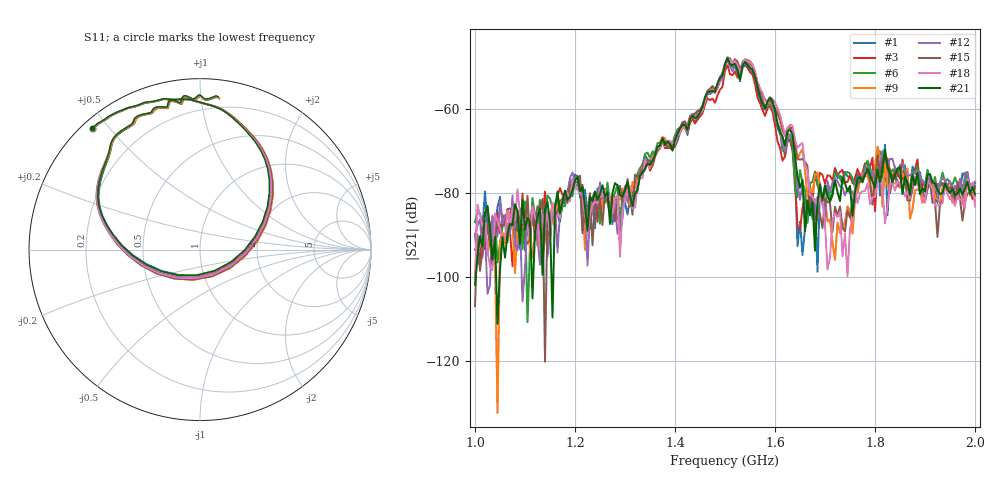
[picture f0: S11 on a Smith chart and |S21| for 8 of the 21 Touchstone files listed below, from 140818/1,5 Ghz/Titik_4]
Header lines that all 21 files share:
# Hz S RI R 50
! CMT, C1220, 16058040, 17.2.0/1
! Data: Format (Calibration Info)
! Freq  S11: Re/Im (F2)  S21: Re/Im (F2)  S12: Re/Im (F2)  S22: Re/Im (F2)
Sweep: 1 GHz to 2 GHz
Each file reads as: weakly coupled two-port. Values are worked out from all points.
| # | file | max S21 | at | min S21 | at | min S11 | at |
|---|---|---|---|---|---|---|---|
| 1 | Sudut_0_Titik_4.s2p | -48.20 dB | 1.505 GHz | -98.9 dB | 1.685 GHz | -16.5 dB | 1.535 GHz |
| 2 | Sudut_10_Titik_4.s2p | -48.94 dB | 1.505 GHz | -97.1 dB | 1.045 GHz | -16.4 dB | 1.535 GHz |
| 3 | Sudut_20_Titik_4.s2p | -48.78 dB | 1.54 GHz | -97.5 dB | 1.075 GHz | -16.2 dB | 1.535 GHz |
| 4 | Sudut_40_Titik_4.s2p | -48.74 dB | 1.54 GHz | -99.5 dB | 1.02 GHz | -15.9 dB | 1.535 GHz |
| 5 | Sudut_50_Titik_4.s2p | -48.83 dB | 1.505 GHz | -102.5 dB | 1.035 GHz | -15.7 dB | 1.53 GHz |
| 6 | Sudut_60_Titik_4.s2p | -48.31 dB | 1.505 GHz | -110.8 dB | 1.105 GHz | -15.6 dB | 1.53 GHz |
| 7 | Sudut_70_Titik_4.s2p | -47.52 dB | 1.52 GHz | -113.6 dB | 1.11 GHz | -15.5 dB | 1.53 GHz |
| 8 | Sudut_90_Titik_4.s2p | -46.89 dB | 1.52 GHz | -115.1 dB | 1.105 GHz | -15.4 dB | 1.53 GHz |
| 9 | Sudut_110_Titik_4.s2p | -47.92 dB | 1.505 GHz | -132.5 dB | 1.045 GHz | -15.2 dB | 1.53 GHz |
| 10 | Sudut_160_Titik_4.s2p | -50.10 dB | 1.505 GHz | -104.0 dB | 1.05 GHz | -16.2 dB | 1.53 GHz |
| 11 | Sudut_180_Titik_4.s2p | -49.00 dB | 1.505 GHz | -104.1 dB | 1.05 GHz | -16.3 dB | 1.53 GHz |
| 12 | Sudut_200_Titik_4.s2p | -48.21 dB | 1.54 GHz | -105.9 dB | 1.095 GHz | -15.8 dB | 1.53 GHz |
| 13 | Sudut_220_Titik_4.s2p | -48.36 dB | 1.505 GHz | -104.3 dB | 1.11 GHz | -15.3 dB | 1.53 GHz |
| 14 | Sudut_230_Titik_4.s2p | -47.75 dB | 1.505 GHz | -110.2 dB | 1.005 GHz | -15.3 dB | 1.53 GHz |
| 15 | Sudut_240_Titik_4.s2p | -47.73 dB | 1.505 GHz | -120.3 dB | 1.14 GHz | -15.3 dB | 1.53 GHz |
| 16 | Sudut_280_Titik_4.s2p | -47.41 dB | 1.505 GHz | -102.7 dB | 1.1 GHz | -15.3 dB | 1.53 GHz |
| 17 | Sudut_290_Titik_4.s2p | -47.60 dB | 1.505 GHz | -129.5 dB | 1 GHz | -15.4 dB | 1.53 GHz |
| 18 | Sudut_300_Titik_4.s2p | -47.86 dB | 1.505 GHz | -100.7 dB | 1 GHz | -15.6 dB | 1.53 GHz |
| 19 | Sudut_330_Titik_4.s2p | -48.05 dB | 1.505 GHz | -107.6 dB | 1.13 GHz | -16.2 dB | 1.53 GHz |
| 20 | Sudut_340_Titik_4.s2p | -47.59 dB | 1.505 GHz | -107.3 dB | 1.69 GHz | -16.4 dB | 1.53 GHz |
| 21 | Sudut_350_Titik_4.s2p | -47.96 dB | 1.505 GHz | -111.3 dB | 1.045 GHz | -16.5 dB | 1.53 GHz |
